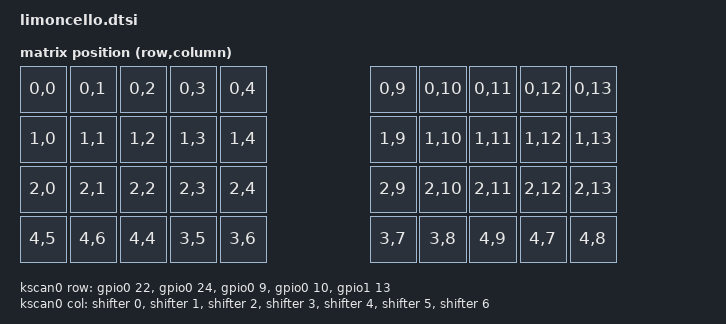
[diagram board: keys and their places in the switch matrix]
/*
 * Copyright (c) 2022 The ZMK Contributors
 *
 * SPDX-License-Identifier: MIT
 */

#include <behaviors.dtsi>
#include <dt-bindings/zmk/matrix_transform.h>
#include <dt-bindings/zmk/keys.h>

// Tell VIK that there is 1 other device on the SPI bus.
// You will need to increase this number if you add another SPI device.
#define VIK_SPI_REG_START 1
// Pulled out to an external variable so VIK can find the SPI bus.
#define VIK_SPI_CS_PREFIX <&gpio0 4 GPIO_ACTIVE_LOW>

&spi1 {
    status = "okay";
    cs-gpios = VIK_SPI_CS_PREFIX;

    shifter: 595@0 {
        compatible = "zmk,gpio-595";
        status = "okay";
        gpio-controller;
        spi-max-frequency = <200000>;
        reg = <0>;
        ngpios = <8>;
        #gpio-cells = <2>;
    };
  };

/ {
    chosen {
        zmk,kscan = &kscan0;
        zmk,matrix_transform = &default_transform;
    };

    default_transform: keymap_transform_0 {
        compatible = "zmk,matrix-transform";
        columns = <14>;
        rows = <5>;
        map = <
    RC(0,0) RC(0,1) RC(0,2) RC(0,3) RC(0,4)                         RC(0,9) RC(0,10) RC(0,11) RC(0,12) RC(0,13)
    RC(1,0) RC(1,1) RC(1,2) RC(1,3) RC(1,4)                         RC(1,9) RC(1,10) RC(1,11) RC(1,12) RC(1,13)
    RC(2,0) RC(2,1) RC(2,2) RC(2,3) RC(2,4)                         RC(2,9) RC(2,10) RC(2,11) RC(2,12) RC(2,13)
              RC(4,5) RC(4,6)  RC(4,4) RC(3,5)  RC(3,6) RC(3,7)  RC(3,8) RC(4,9)  RC(4,7) RC(4,8) 
           /* <-----X_LH---->  <----- LH ---->  <-----X_MH---->  <----- RH ---->  <-----X_RH----> */
           /* <   lower 1u  >  <  inner 1.5u >  <  outer 1.5u >  <  inner 1.5u >  <   lower 1u  > */
        >;
  };

  kscan0: kscan_0 {
        compatible = "zmk,kscan-gpio-matrix";
        wakeup-source;
        diode-direction = "col2row";
        row-gpios
            = <&gpio0 22 (GPIO_ACTIVE_HIGH | GPIO_PULL_DOWN)>
            , <&gpio0 24 (GPIO_ACTIVE_HIGH | GPIO_PULL_DOWN)>
            , <&gpio0 9  (GPIO_ACTIVE_HIGH | GPIO_PULL_DOWN)>
            , <&gpio0 10 (GPIO_ACTIVE_HIGH | GPIO_PULL_DOWN)>
            , <&gpio1 13 (GPIO_ACTIVE_HIGH | GPIO_PULL_DOWN)>
            ;

        col-gpios
            = <&shifter 0 GPIO_ACTIVE_HIGH>
            , <&shifter 1 GPIO_ACTIVE_HIGH>
            , <&shifter 2 GPIO_ACTIVE_HIGH>
            , <&shifter 3 GPIO_ACTIVE_HIGH>
            , <&shifter 4 GPIO_ACTIVE_HIGH>
            , <&shifter 5 GPIO_ACTIVE_HIGH>
            , <&shifter 6 GPIO_ACTIVE_HIGH>
            ;
    };

    bootloader_key_left: bootloader_key_left {
        compatible = "zmk,boot-magic-key";
        key-position = <0>;
        jump-to-bootloader;
        status = "disabled";
    };

    bootloader_key_right: bootloader_key_right {
        compatible = "zmk,boot-magic-key";
        key-position = <20>;
        jump-to-bootloader;
        status = "disabled";
    };
};
